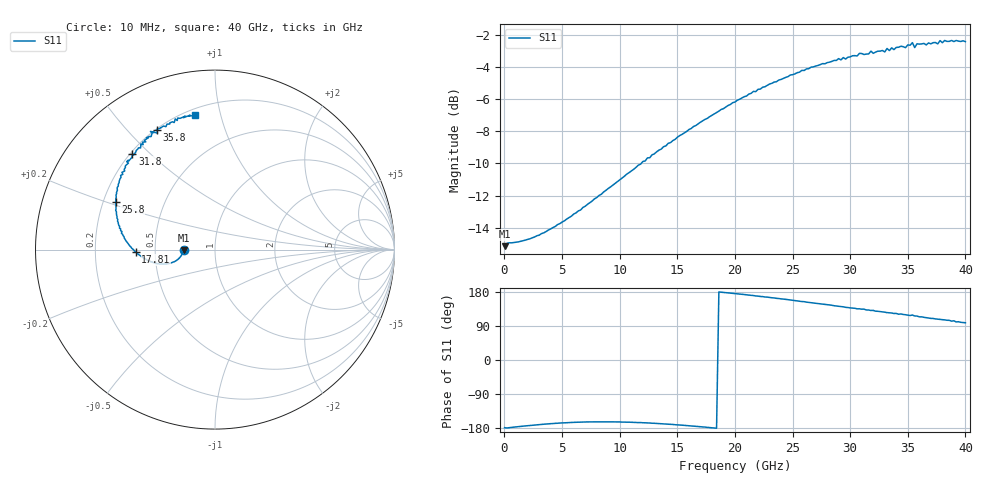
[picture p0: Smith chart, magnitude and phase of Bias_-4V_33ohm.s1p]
!Agilent Technologies,N5227A,US51270434,A.10.00.00
!Agilent N5227A: A.10.00.00
!Date: Monday, March 30, 2026 11:27:32
!Correction: S11(Full 1 Port(1))
!S1P File: Measurement: S11:
# Hz S  dB  R 50
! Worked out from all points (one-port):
!   201 points, 10 MHz to 40 GHz, reference 50 ohm
!   lowest |S11| = -15.1 dB at 10 MHz (marker M1), VSWR 1.42, Z = 35.1 - j0.302 ohm
!   |S11| at or under -10 dB: start of sweep to 11.87 GHz
!   S11 on the Smith chart (normalised r, x): 10 MHz: 0.70, -0.01; 17.81 GHz: 0.39, -0.01; 25.8 GHz: 0.25, +0.21; 31.8 GHz: 0.21, +0.44; 35.8 GHz: 0.20, +0.61; 40 GHz: 0.24, +0.84
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1e7  -15.15 -178.6
5.00875e9  -13.65 -166.1
1.00075e10  -11.02 -163.5
1.500625e10  -8.38 -171.1
1.780555e10  -7.10 -178.3
2.0005e10  -6.19 175.5
2.500375e10  -4.49 157.6
2.580355e10  -4.22 154.2
2.8003e10  -3.74 146.1
3.00025e10  -3.39 137.5
3.12022e10  -3.24 134.3
3.180205e10  -3.03 130.7
3.2002e10  -3.16 130.9
3.32017e10  -2.86 125.0
3.500125e10  -2.64 118.3
3.52012e10  -2.66 117.4
3.540115e10  -2.50 118.7
3.56011e10  -2.81 116.2
3.580105e10  -2.57 115.9
3.6001e10  -2.59 113.9
3.76006e10  -2.57 107.8
3.780055e10  -2.37 106.9
3.860035e10  -2.42 104.7
3.88003e10  -2.36 102.6
3.900025e10  -2.43 103.5
3.92002e10  -2.36 100.5
3.940015e10  -2.40 101.0
4e10  -2.44 98.3
